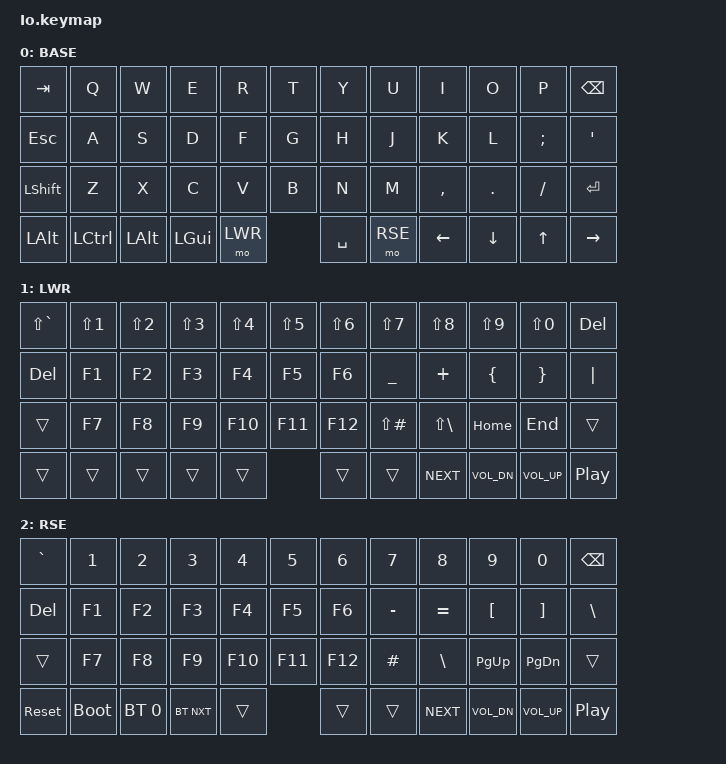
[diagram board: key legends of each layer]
#include <behaviors.dtsi>
#include <dt-bindings/zmk/keys.h>
#include <dt-bindings/zmk/bt.h>
#include <dt-bindings/zmk/outputs.h>
#include "48keys.h"

&sk {
  release-after-ms = <STICKY_KEY_TIMEOUT>;
};

&caps_word {
  continue-list = <UNDERSCORE MINUS BACKSPACE>;
};

&kscan0 {
  debounce-period = <14>;
};

/ {
  behaviors {
    skq: sticky_key_quick_release {
      compatible = "zmk,behavior-sticky-key";
      label = "STICKY_KEY_QUICK_RELEASE";
      #binding-cells = <1>;
      bindings = <&kp>;
      quick-release;
      release-after-ms = <STICKY_KEY_TIMEOUT>;
    };

    // Sticky key on tap, normal key on hold
    // Useful for modifier-clicking without the modifier remaining active
    nk: not_so_sticky_key {
      compatible = "zmk,behavior-hold-tap";
      label = "NOT_SO_STICKY_KEY";
      #binding-cells = <2>;
      tapping_term_ms = <200>;
      flavor = "tap-preferred";
      bindings = <&kp>, <&sk>;
    };

    // A hold-tap that activates without delay (like `&mo`)
    mo_tap: mo_with_tap {
      compatible = "zmk,behavior-hold-tap";
      label = "MO_WITH_TAP";
      #binding-cells = <2>;
      tapping_term_ms = <0>;
      retro-tap;
      flavor = "hold-preferred";
      bindings = <&mo>, <&kp>;
    };
  };

  /*
    LAYERS
      &mo - Momentary Layer switch
      &lt - Layer Tap - Enable layer when held, key when tapped
      &to - Enable layer permanently, disables all others but base
      &tog - Toggle layer until manually disabled
    
    OTHERS
      &kp - Key press, nothing more
      &mt - Mod-Tap - Key if held, different key if tapped
      &sk - Sticky Key - Key is pressed until another key is pressed (e.g sticky shift)
      &sl - Sticky layer - Same as &sk but with layers

  */
                                                     
  keymap {
    compatible = "zmk,keymap";

    base_layer {
      label = "BASE";
      bindings = <
          &kp TAB   &kp Q    &kp W    &kp E    &kp R   &kp T  &kp Y  &kp U   &kp I     &kp O    &kp P     &kp BSPC
          &kp ESC   &kp A    &kp S    &kp D    &kp F   &kp G  &kp H  &kp J   &kp K     &kp L    &kp SEMI  &kp SQT
          &kp LSHFT &kp Z    &kp X    &kp C    &kp V   &kp B  &kp N  &kp M   &kp COMMA &kp DOT  &kp SLASH &kp RET
          &kp LALT     &kp LCTL &kp LALT &kp LGUI &mo LWR   &kp SPACE   &mo RSE &kp LEFT  &kp DOWN &kp UP    &kp RIGHT
      >;
    };

    lwr_layer {
      label = "LWR";
      bindings = <
        &kp LS(GRAVE) &kp LS(N1) &kp LS(N2) &kp LS(N3) &kp LS(N4) &kp LS(N5) &kp LS(N6) &kp LS(N7)   &kp LS(N8)   &kp LS(N9)   &kp LS(N0)   &kp DEL
        &kp DEL       &kp F1     &kp F2     &kp F3     &kp F4     &kp F5     &kp F6     &kp UNDER    &kp PLUS     &kp LBRC     &kp RBRC     &kp PIPE
        &trans        &kp F7     &kp F8     &kp F9     &kp F10    &kp F11    &kp F12    &kp LS(HASH) &kp LS(BSLH) &kp HOME     &kp END      &trans
        &trans        &trans     &trans     &trans     &trans           &trans          &trans       &kp C_NEXT   &kp C_VOL_DN &kp C_VOL_UP &kp C_PP
      >;
    };

    rse_layer {
      label = "RSE";
      bindings = <
        &kp GRAVE  &kp N1      &kp N2 &kp N3 &kp N4  &kp N5  &kp N6  &kp N7    &kp N8     &kp N9       &kp N0       &kp BSPC
        &kp DEL    &kp F1      &kp F2 &kp F3 &kp F4  &kp F5  &kp F6  &kp MINUS &kp EQUAL  &kp LBKT     &kp RBKT     &kp BSLH
        &trans     &kp F7      &kp F8 &kp F9 &kp F10 &kp F11 &kp F12 &kp HASH  &kp BSLH   &kp PG_UP    &kp PG_DN    &trans
        &sys_reset &bootloader &bt BT_SEL 0 &bt BT_NXT &trans        &trans    &trans    &kp C_NEXT &kp C_VOL_DN &kp C_VOL_UP &kp C_PP
      >;
    };
  };
};
